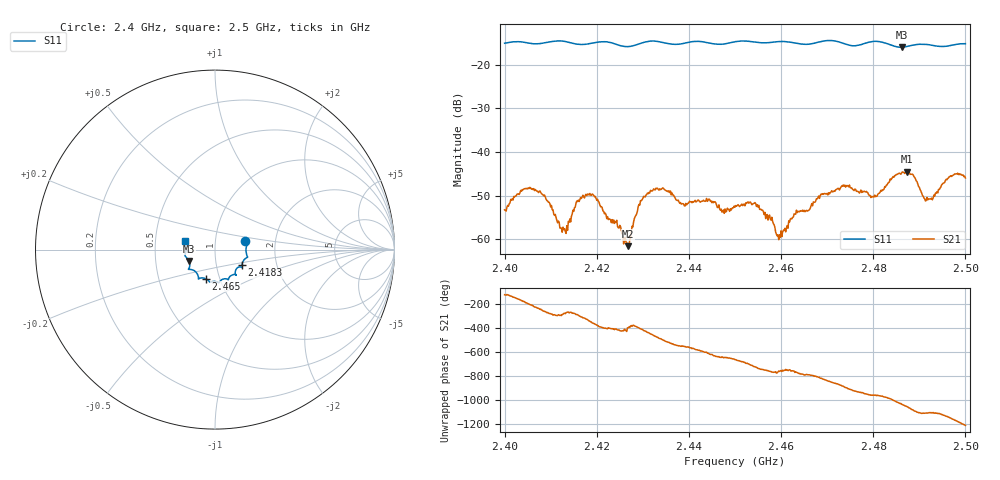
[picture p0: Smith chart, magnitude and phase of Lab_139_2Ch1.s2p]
# Hz S RI R 50
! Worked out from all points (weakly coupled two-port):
!   601 points, 2.4 GHz to 2.5 GHz, reference 50 ohm
!   highest |S21| = -44.49 dB at 2.4873 GHz (marker M1); lowest = -61.6 dB at 2.4268 GHz (marker M2)
!   lowest |S11| = -16.0 dB at 2.4862 GHz (marker M3), VSWR 1.37, Z = 37.1 - j4.85 ohm
!   |S11| at or under -10 dB: start of sweep to end of sweep
!   S12 and S22 are empty: the file has one direction only
!   S11 on the Smith chart (normalised r, x): 2.4 GHz: 1.40, +0.13; 2.4183 GHz: 1.33, -0.24; 2.465 GHz: 0.86, -0.29; 2.5 GHz: 0.71, +0.07
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2.4e9  0.1691 0.0457  -0.00128 -0.00175  0 0  0 0
2.405833e9  0.1735 0.0106  -0.00323 0.00189  0 0  0 0
2.412833e9  0.1793 -0.0438  0.000255 0.00126  0 0  0 0
2.416667e9  0.155 -0.0684  0.00188 0.00224  0 0  0 0
2.418333e9  0.1498 -0.087  0.00306 0.000962  0 0  0 0
2.426833e9  0.1194 -0.1072  0.000639 -0.000534  0 0  0 0
2.429667e9  0.1131 -0.1344  0.00177 -0.00212  0 0  0 0
2.433333e9  0.1167 -0.1412  -0.00194 -0.00319  0 0  0 0
2.438667e9  0.0791 -0.1548  -0.0025 0.000548  0 0  0 0
2.45e9  0.0252 -0.1806  0.00127 0.00195  0 0  0 0
2.454667e9  0.00992 -0.1793  0.00235 -0.000315  0 0  0 0
2.459333e9  -0.0254 -0.1808  0.000805 -0.000782  0 0  0 0
2.465e9  -0.0528 -0.162  0.000741 -0.00201  0 0  0 0
2.466667e9  -0.0714 -0.1576  0.00073 -0.00245  0 0  0 0
2.473333e9  -0.0929 -0.1493  -0.00383 -0.00126  0 0  0 0
2.48e9  -0.1473 -0.1101  -0.00167 0.00259  0 0  0 0
2.483333e9  -0.1417 -0.0955  -0.000577 0.00442  0 0  0 0
2.486167e9  -0.1443 -0.0638  0.00391 0.00422  0 0  0 0
2.487333e9  -0.1524 -0.0526  0.00529 0.00275  0 0  0 0
2.491667e9  -0.1672 -0.0296  0.00272 -0.0013  0 0  0 0
2.497e9  -0.1637 0.0276  0.00157 -0.00498  0 0  0 0
2.5e9  -0.1666 0.0471  -0.00312 -0.00394  0 0  0 0
